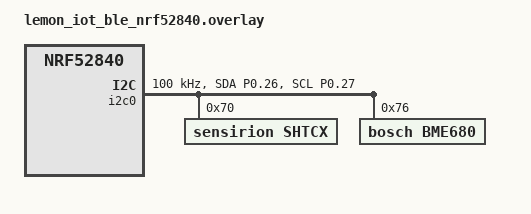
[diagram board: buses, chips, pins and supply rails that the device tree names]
/*
 * DeviceTree overlay for Lemon IoT BLE nRF52840 Board
 *
 * Copyright (c) 2023 Aaron Mohtar & Co Pty Ltd
 * SPDX-License-Identifier: Apache-2.0
 */

/ {
	aliases {
		ltr329bus = &i2c0;
	};
};

&pinctrl {

	i2c0_default: i2c0_default {
		group1 {
			psels = <NRF_PSEL(TWIM_SDA, 0, 26)>,
					<NRF_PSEL(TWIM_SCL, 0, 27)>;
			bias-pull-up;
		};
	};

	i2c0_sleep: i2c0_sleep {
		group1 {
			psels = <NRF_PSEL(TWIM_SDA, 0, 26)>,
					<NRF_PSEL(TWIM_SCL, 0, 27)>;
			low-power-enable;
		};
	};
};

&i2c0 {
	compatible = "nordic,nrf-twim";
	status = "okay";
	pinctrl-0 = <&i2c0_default>;
	pinctrl-1 = <&i2c0_sleep>;
	pinctrl-names = "default", "sleep";
	clock-frequency = <100000>;
	shtcx@70 {
		compatible = "sensirion,shtcx";
		reg = <0x70>;
		chip = "shtc3";
		measure-mode = "normal";
	};
	bme680@76 {
		compatible = "bosch,bme680";
		reg = <0x76>;
	};
};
